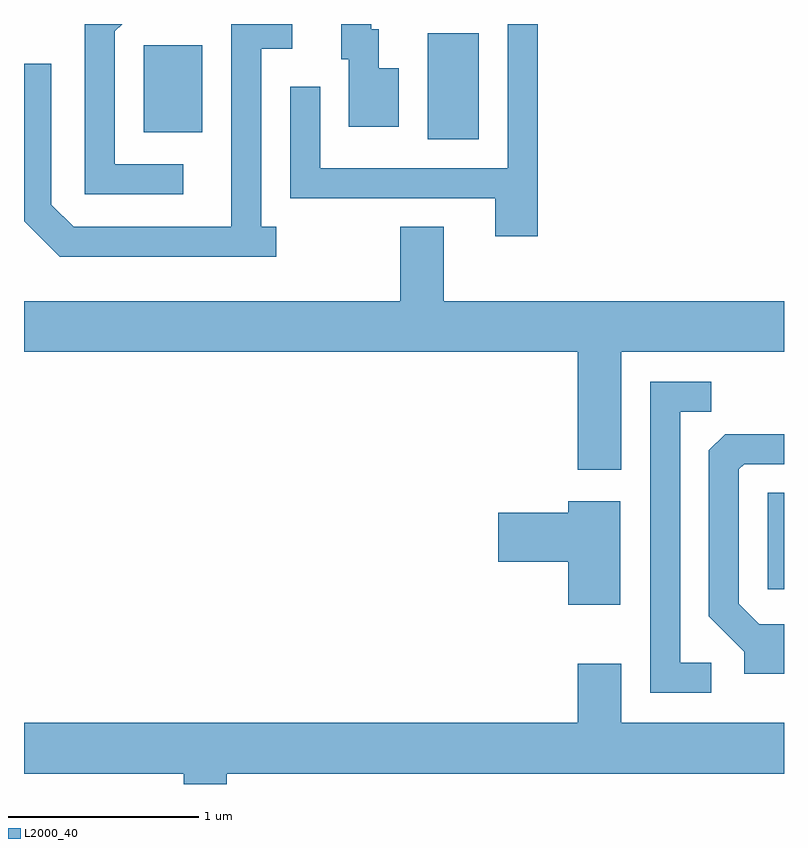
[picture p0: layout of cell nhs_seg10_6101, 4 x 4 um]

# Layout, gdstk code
import gdstk
lib = gdstk.Library(unit=1e-6, precision=1e-09)
def R(c, l, rs):  # rectangles x0, y0, x1, y1
    for r in rs: c.add(gdstk.rectangle(r[:2], r[2:], *l))
def P(c, l, *ps):  # polygons
    for p in ps: c.add(gdstk.Polygon(p, *l))
L2000_40 = (2000, 40)

nhs_seg10_6101 = lib.new_cell('nhs_seg10_6101')
R(nhs_seg10_6101, L2000_40, [(369.526,2121.548,369.611,2122.054), (367.736,2123.916,368.004,2124.474), (366.241,2123.951,366.549,2124.409)])
P(nhs_seg10_6101, L2000_40, [(368.314,2124.522),(368.156,2124.522),(368.156,2123.764),(367.169,2123.764),(367.169,2124.193),(367.011,2124.193),(367.011,2123.606),(368.091,2123.606),(368.091,2123.406),(368.314,2123.406)],
  [(366.938,2123.454),(366.859,2123.454),(366.859,2124.391),(367.023,2124.391),(367.023,2124.522),(366.701,2124.522),(366.701,2123.454),(365.872,2123.454),(365.754,2123.572),(365.754,2124.313),(365.611,2124.313),(365.611,2123.484),(365.799,2123.296),(366.938,2123.296)],
  [(366.448,2123.784),(366.089,2123.784),(366.089,2124.484),(366.127,2124.522),(365.931,2124.522),(365.931,2123.626),(366.448,2123.626)],
  [(367.584,2124.289),(367.479,2124.289),(367.479,2124.494),(367.439,2124.494),(367.439,2124.522),(367.281,2124.522),(367.281,2124.336),(367.321,2124.336),(367.321,2123.981),(367.584,2123.981)],
  [(368.754,2122.796),(369.611,2122.796),(369.611,2123.064),(367.819,2123.064),(367.819,2123.454),(367.591,2123.454),(367.591,2123.064),(365.611,2123.064),(365.611,2122.796),(368.526,2122.796),(368.526,2122.176),(368.754,2122.176)],
  [(369.228,2121.159),(369.064,2121.159),(369.064,2122.481),(369.228,2122.481),(369.228,2122.639),(368.906,2122.639),(368.906,2121.001),(369.228,2121.001)],
  [(369.611,2121.364),(369.482,2121.364),(369.374,2121.472),(369.374,2122.179),(369.402,2122.206),(369.611,2122.206),(369.611,2122.364),(369.302,2122.364),(369.216,2122.279),(369.216,2121.404),(369.401,2121.219),(369.401,2121.101),(369.611,2121.101)],
  [(368.749,2122.009),(368.476,2122.009),(368.476,2121.949),(368.106,2121.949),(368.106,2121.691),(368.476,2121.691),(368.476,2121.466),(368.749,2121.466)],
  [(366.679,2120.576),(369.611,2120.576),(369.611,2120.844),(368.754,2120.844),(368.754,2121.154),(368.526,2121.154),(368.526,2120.844),(365.611,2120.844),(365.611,2120.576),(366.451,2120.576),(366.451,2120.522),(366.679,2120.522)])

lib.write_gds('nhs_seg10_6101.gds')
